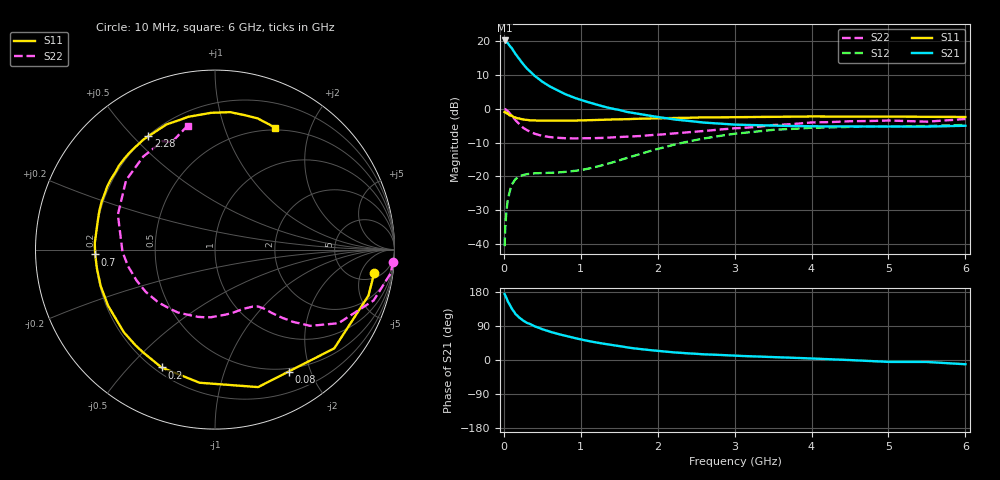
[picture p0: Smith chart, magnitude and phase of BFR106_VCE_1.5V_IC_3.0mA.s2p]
! Infineon Technologies  Discrete & RF Semiconductors
! BFR106
! VCE =  1.5 V,  IC =  3.0 mA
! Common Emitter S-Parameters:  Nov 2015
# GHz  S  MA  R  50
!  f  S11  S21  S12  S22
! GHz  MAG  ANG  MAG  ANG  MAG  ANG  MAG  ANG
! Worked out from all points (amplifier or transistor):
!   210 points, 10 MHz to 6 GHz, reference 50 ohm
!   highest |S21| = 20.3 dB at 10 MHz (marker M1)
!   |S21| within 3 dB of that: start of sweep to 122.5 MHz
!   unconditionally stable (mu >= 1): 697.8 MHz to 2.469 GHz; 2.81 GHz to 2.828 GHz; 3.051 GHz to end of sweep (the widest 3 of 4)
!   at 185 MHz: K = 0.30, MSG = 17.8 dB, |S12| = -20.3 dB
!   at 1.52 GHz: K = 1.20, MAG = 4.6 dB, |S12| = -15.1 dB
!   at 6 GHz: K = 1.02, MAG = -1.1 dB, |S12| = -4.8 dB
!   S11 on the Smith chart (normalised r, x): 10 MHz: 7, -9; 80 MHz: 0.46, -1.68; 200 MHz: 0.23, -0.62; 700 MHz: 0.20, -0.02; 2.28 GHz: 0.20, +0.55; 6 GHz: 0.47, +1.50
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0.01  0.8966 -8.4  10.31 174.2  0.0092 85.9  0.9932 -3.9
0.02  0.8925 -16.7  10.16 169.9  0.0184 80.8  0.9883 -7.6
0.05  0.8627 -39.6  9.448 155.0  0.0436 68.7  0.9279 -17.8
0.08  0.7937 -58.9  8.485 144.5  0.0614 57.7  0.8463 -25.1
0.1  0.8028 -72.6  8.03 136.3  0.074 53.4  0.8009 -30.8
0.15  0.7467 -96.6  6.538 121.6  0.0904 42.4  0.6794 -38.7
0.2  0.7212 -114.4  5.468 112.0  0.0997 36.2  0.5929 -42.8
0.26  0.693 -129.8  4.473 102.9  0.105 31.4  0.5159 -46.2
0.3  0.6855 -137.8  3.954 98.2  0.1076 29.8  0.4835 -47.7
0.4  0.6728 -152.3  3.087 88.9  0.1106 27.1  0.4272 -50.3
0.5  0.6686 -162.5  2.519 81.2  0.1115 27.0  0.3963 -53.0
0.6  0.6662 -171.2  2.141 74.6  0.1127 28.3  0.381 -56.4
0.7  0.668 -177.7  1.864 68.8  0.1136 30.6  0.3723 -60.3
0.86  0.6691 173.7  1.547 60.9  0.118 35.4  0.3645 -66.7
1.02  0.674 165.4  1.331 53.6  0.1246 40.9  0.3654 -74.0
1.4  0.6954 149.9  1.01 39.7  0.1589 52.4  0.3778 -93.5
2.02  0.7226 128.6  0.75 23.7  0.2578 55.1  0.4144 -127.5
2.28  0.7322 120.5  0.684 19.2  0.3061 52.3  0.4376 -141.8
3.1  0.7545 99.4  0.579 10.6  0.438 36.8  0.5212 176.9
4.1  0.769 82.4  0.549 3.2  0.5259 17.0  0.6302 139.1
5.1  0.7666 71.0  0.547 -5.0  0.55 2.6  0.6655 115.0
6  0.757 63.7  0.561 -11.2  0.5777 -7.4  0.7068 102.5
